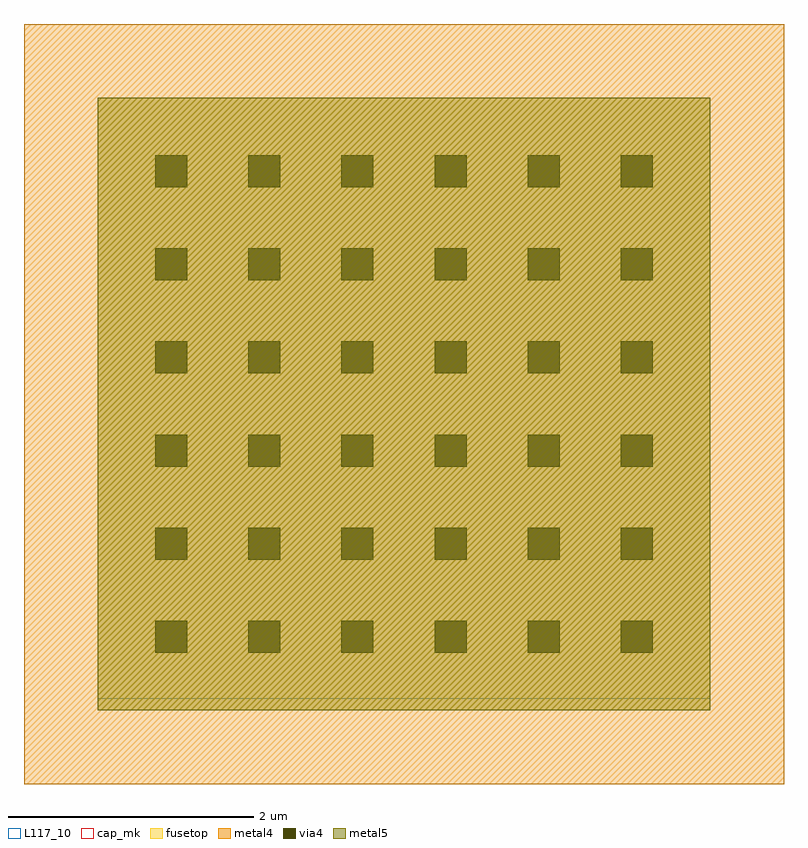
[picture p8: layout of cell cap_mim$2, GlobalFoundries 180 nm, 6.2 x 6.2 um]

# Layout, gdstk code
import gdstk
lib = gdstk.Library(unit=1e-6, precision=5e-09)
def R(c, l, rs):  # rectangles x0, y0, x1, y1
    for r in rs: c.add(gdstk.rectangle(r[:2], r[2:], *l))
def A(c, l, x, y, w, h, nx, ny, dx, dy):  # array of equal rectangles
    R(c, l, [(x+i*dx, y+j*dy, x+i*dx+w, y+j*dy+h) for i in range(nx) for j in range(ny)])
via4 = (41, 0)
metal4 = (46, 0)
fusetop = (75, 0)
metal5 = (81, 0)
cap_mk = (117, 5)
L117_10 = (117, 10)

cap_mim_2 = lib.new_cell('cap_mim$2')
A(cap_mim_2, via4, 0.47, 0.47, 0.26, 0.26, 6, 6, 0.76, 0.76)
R(cap_mim_2, metal4, [(-0.6,-0.6,5.6,5.6)])
R(cap_mim_2, fusetop, [(0,0,5,5)])
R(cap_mim_2, metal5, [(0,0,5,5)])
R(cap_mim_2, cap_mk, [(-0.6,-0.6,5.6,5.6)])
R(cap_mim_2, L117_10, [(0,0,5,0.1)])

lib.write_gds('cap_mim_2.gds')
